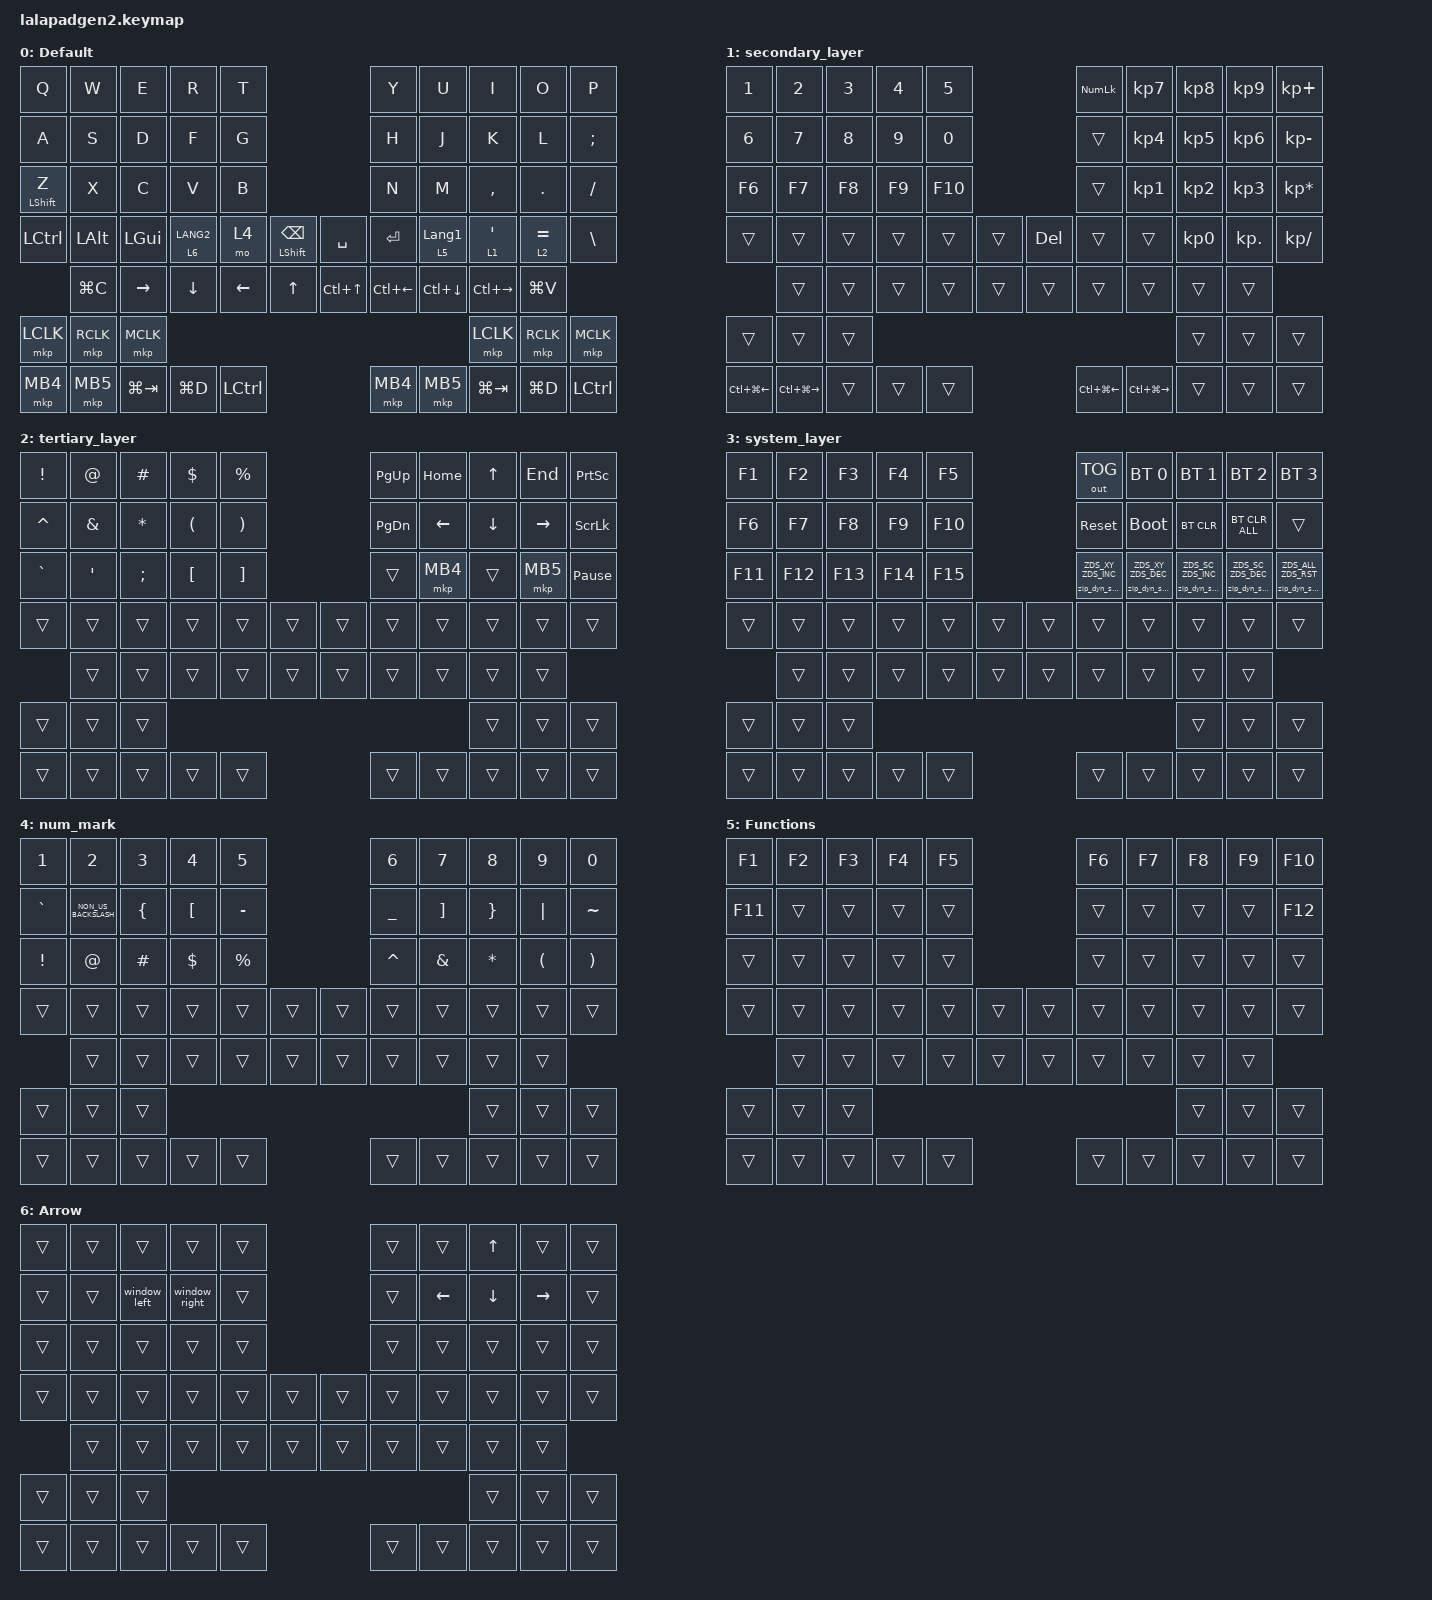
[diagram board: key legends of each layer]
#include <input/processors.dtsi>
#include <dt-bindings/zmk/zip_dynamic_scale.h>
#include <behaviors.dtsi>
#include <dt-bindings/zmk/bt.h>
#include <dt-bindings/zmk/keys.h>
#include <dt-bindings/zmk/outputs.h>
#include <dt-bindings/zmk/pointing.h>

#define DEFAULT_LAYER   0
#define SECONDARY_LAYER 1
#define TERTIARY_LAYER  2
#define SYSTEM_LAYER    3

&mt { quick-tap-ms = <200>; };

&lt { quick-tap-ms = <200>; };

/ {
    behaviors {
        zip_dyn_scale: zip_dyn_scale {
            compatible = "zmk,behavior-zip-dynamic-scale";
            #binding-cells = <2>;
        };

        zip_dyn_scale_set: zip_dyn_scale_set {
            compatible = "zmk,behavior-zip-dynamic-scale-set";
            #binding-cells = <2>;
        };

        mt2: mod_tap2 {
            compatible = "zmk,behavior-hold-tap";
            #binding-cells = <2>;
            flavor = "tap-preferred";
            tapping-term-ms = <200>;
            quick-tap-ms = <200>;
            require-prior-idle-ms = <125>;
            bindings = <&kp>, <&kp>;
        };

        tap_dance_layer_1and2: tap_dance_layer_1and2 {
            compatible = "zmk,behavior-tap-dance";
            label = "td_mo12";
            #binding-cells = <0>;
            bindings = <&mo 1>, <&mo 2>;
        };
    };

    combos {
        compatible = "zmk,combos";

        CONBO_ESC {
            bindings = <&kp ESCAPE>;
            key-positions = <0 1>;
        };

        COMBO_TAB {
            bindings = <&kp TAB>;
            key-positions = <10 11>;
        };

        COMBO_EQUALS {
            bindings = <&kp EQUAL>;
            key-positions = <8 9>;
        };

        COMBO_QUOTE {
            bindings = <&kp SINGLE_QUOTE>;
            key-positions = <18 19>;
        };
    };

    macros {
        window_left: window_left {
            compatible = "zmk,behavior-macro";
            #binding-cells = <0>;
            bindings = <&sk LC(CAPSLOCK) &kp LEFT>;
            label = "WINDOW_LEFT";
        };

        window_right: window_right {
            compatible = "zmk,behavior-macro";
            #binding-cells = <0>;
            bindings = <&kp LC(CAPSLOCK) &kp RIGHT>;
            label = "WINDOW_RIGHT";
        };
    };

    keymap {
        compatible = "zmk,keymap";

        DEFAULT_LAYER {
            display-name = "Default";
            bindings = <
&kp Q              &kp W         &kp E         &kp R        &kp T                                            &kp Y         &kp U             &kp I               &kp O        &kp P
&kp A              &kp S         &kp D         &kp F        &kp G                                            &kp H         &kp J             &kp K               &kp L        &kp SEMICOLON
&mt2 LEFT_SHIFT Z  &kp X         &kp C         &kp V        &kp B                                            &kp N         &kp M             &kp COMMA           &kp PERIOD   &kp SLASH
&kp LCTRL          &kp LEFT_ALT  &kp LEFT_GUI  &lt 6 LANG2  &mo 4      &mt LEFT_SHIFT BACKSPACE  &kp SPACE   &kp ENTER     &lt 5 LANGUAGE_1  &lt 1 SINGLE_QUOTE  &lt 2 EQUAL  &kp BACKSLASH
                   &kp LG(C)     &kp RIGHT     &kp DOWN     &kp LEFT   &kp UP                    &kp LC(UP)  &kp LC(LEFT)  &kp LC(DOWN)      &kp LC(RIGHT)       &kp LG(V)
&mkp LCLK          &mkp RCLK     &mkp MCLK                                                                                                   &mkp LCLK           &mkp RCLK    &mkp MCLK
&mkp MB4           &mkp MB5      &kp LG(TAB)   &kp LG(D)    &kp LCTRL                                        &mkp MB4      &mkp MB5          &kp LG(TAB)         &kp LG(D)    &kp LCTRL
            >;
        };

        SECONDARY_LAYER {
            display-name = "secondary_layer";
            bindings = <
&kp NUMBER_1      &kp NUMBER_2       &kp NUMBER_3  &kp NUMBER_4  &kp N5                    &kp KP_NUMLOCK    &kp KP_NUMBER_7    &kp KP_NUMBER_8  &kp KP_NUMBER_9  &kp KP_PLUS
&kp NUMBER_6      &kp N7             &kp N8        &kp N9        &kp N0                    &trans            &kp KP_NUMBER_4    &kp KP_NUMBER_5  &kp KP_NUMBER_6  &kp KP_MINUS
&kp F6            &kp F7             &kp F8        &kp F9        &kp F10                   &trans            &kp KP_NUMBER_1    &kp KP_NUMBER_2  &kp KP_NUMBER_3  &kp KP_ASTERISK
&trans            &trans             &trans        &trans        &trans   &trans  &kp DEL  &trans            &trans             &kp KP_NUMBER_0  &kp KP_DOT       &kp KP_DIVIDE
                  &trans             &trans        &trans        &trans   &trans  &trans   &trans            &trans             &trans           &trans
&trans            &trans             &trans                                                                                     &trans           &trans           &trans
&kp LC(LG(LEFT))  &kp LC(LG(RIGHT))  &trans        &trans        &trans                    &kp LC(LG(LEFT))  &kp LC(LG(RIGHT))  &trans           &trans           &trans
            >;
        };

        TERTIARY_LAYER {
            display-name = "tertiary_layer";
            bindings = <
&kp EXCLAMATION  &kp AT_SIGN    &kp HASH      &kp DOLLAR            &kp PERCENT                            &kp PAGE_UP    &kp HOME  &kp UP_ARROW    &kp END    &kp PRINTSCREEN
&kp CARET        &kp AMPERSAND  &kp ASTERISK  &kp LEFT_PARENTHESIS  &kp RIGHT_PARENTHESIS                  &kp PAGE_DOWN  &kp LEFT  &kp DOWN_ARROW  &kp RIGHT  &kp SCROLLLOCK
&kp GRAVE        &kp SQT        &kp SEMI      &kp LEFT_BRACKET      &kp RIGHT_BRACKET                      &trans         &mkp MB4  &trans          &mkp MB5   &kp PAUSE_BREAK
&trans           &trans         &trans        &trans                &trans                 &trans  &trans  &trans         &trans    &trans          &trans     &trans
                 &trans         &trans        &trans                &trans                 &trans  &trans  &trans         &trans    &trans          &trans
&trans           &trans         &trans                                                                                              &trans          &trans     &trans
&trans           &trans         &trans        &trans                &trans                                 &trans         &trans    &trans          &trans     &trans
            >;
        };

        SYSTEM_LAYER {
            display-name = "system_layer";
            bindings = <
&kp F1   &kp F2   &kp F3   &kp F4   &kp F5                   &out OUT_TOG                   &bt BT_SEL 0                   &bt BT_SEL 1                   &bt BT_SEL 2                   &bt BT_SEL 3
&kp F6   &kp F7   &kp F8   &kp F9   &kp F10                  &sys_reset                     &bootloader                    &bt BT_CLR                     &bt BT_CLR_ALL                 &trans
&kp F11  &kp F12  &kp F13  &kp F14  &kp F15                  &zip_dyn_scale ZDS_XY ZDS_INC  &zip_dyn_scale ZDS_XY ZDS_DEC  &zip_dyn_scale ZDS_SC ZDS_INC  &zip_dyn_scale ZDS_SC ZDS_DEC  &zip_dyn_scale ZDS_ALL ZDS_RST
&trans   &trans   &trans   &trans   &trans   &trans  &trans  &trans                         &trans                         &trans                         &trans                         &trans
         &trans   &trans   &trans   &trans   &trans  &trans  &trans                         &trans                         &trans                         &trans
&trans   &trans   &trans                                                                                                   &trans                         &trans                         &trans
&trans   &trans   &trans   &trans   &trans                   &trans                         &trans                         &trans                         &trans                         &trans
            >;
        };

        num_mark {
            bindings = <
&kp NUMBER_1     &kp NUMBER_2          &kp NUMBER_3    &kp NUMBER_4      &kp NUMBER_5                  &kp NUMBER_6    &kp NUMBER_7       &kp NUMBER_8     &kp NUMBER_9          &kp NUMBER_0
&kp GRAVE        &kp NON_US_BACKSLASH  &kp LEFT_BRACE  &kp LEFT_BRACKET  &kp MINUS                     &kp UNDERSCORE  &kp RIGHT_BRACKET  &kp RIGHT_BRACE  &kp PIPE              &kp TILDE
&kp EXCLAMATION  &kp AT_SIGN           &kp HASH        &kp DOLLAR        &kp PERCENT                   &kp CARET       &kp AMPERSAND      &kp ASTERISK     &kp LEFT_PARENTHESIS  &kp RIGHT_PARENTHESIS
&trans           &trans                &trans          &trans            &trans        &trans  &trans  &trans          &trans             &trans           &trans                &trans
                 &trans                &trans          &trans            &trans        &trans  &trans  &trans          &trans             &trans           &trans
&trans           &trans                &trans                                                                                             &trans           &trans                &trans
&trans           &trans                &trans          &trans            &trans                        &trans          &trans             &trans           &trans                &trans
            >;
        };

        Functions {
            bindings = <
&kp F1   &kp F2  &kp F3  &kp F4  &kp F5                  &kp F6  &kp F7  &kp F8  &kp F9  &kp F10
&kp F11  &trans  &trans  &trans  &trans                  &trans  &trans  &trans  &trans  &kp F12
&trans   &trans  &trans  &trans  &trans                  &trans  &trans  &trans  &trans  &trans
&trans   &trans  &trans  &trans  &trans  &trans  &trans  &trans  &trans  &trans  &trans  &trans
         &trans  &trans  &trans  &trans  &trans  &trans  &trans  &trans  &trans  &trans
&trans   &trans  &trans                                                  &trans  &trans  &trans
&trans   &trans  &trans  &trans  &trans                  &trans  &trans  &trans  &trans  &trans
            >;
        };

        Arrow {
            bindings = <
&trans  &trans  &trans        &trans         &trans                  &trans  &trans    &kp UP    &trans     &trans
&trans  &trans  &window_left  &window_right  &trans                  &trans  &kp LEFT  &kp DOWN  &kp RIGHT  &trans
&trans  &trans  &trans        &trans         &trans                  &trans  &trans    &trans    &trans     &trans
&trans  &trans  &trans        &trans         &trans  &trans  &trans  &trans  &trans    &trans    &trans     &trans
        &trans  &trans        &trans         &trans  &trans  &trans  &trans  &trans    &trans    &trans
&trans  &trans  &trans                                                                 &trans    &trans     &trans
&trans  &trans  &trans        &trans         &trans                  &trans  &trans    &trans    &trans     &trans
            >;
        };
    };

    conditional_layers {
        compatible = "zmk,conditional-layers";

        Cond_Syslayer {
            if-layers = <1 2>;
            then-layer = <3>;
        };
    };
};
